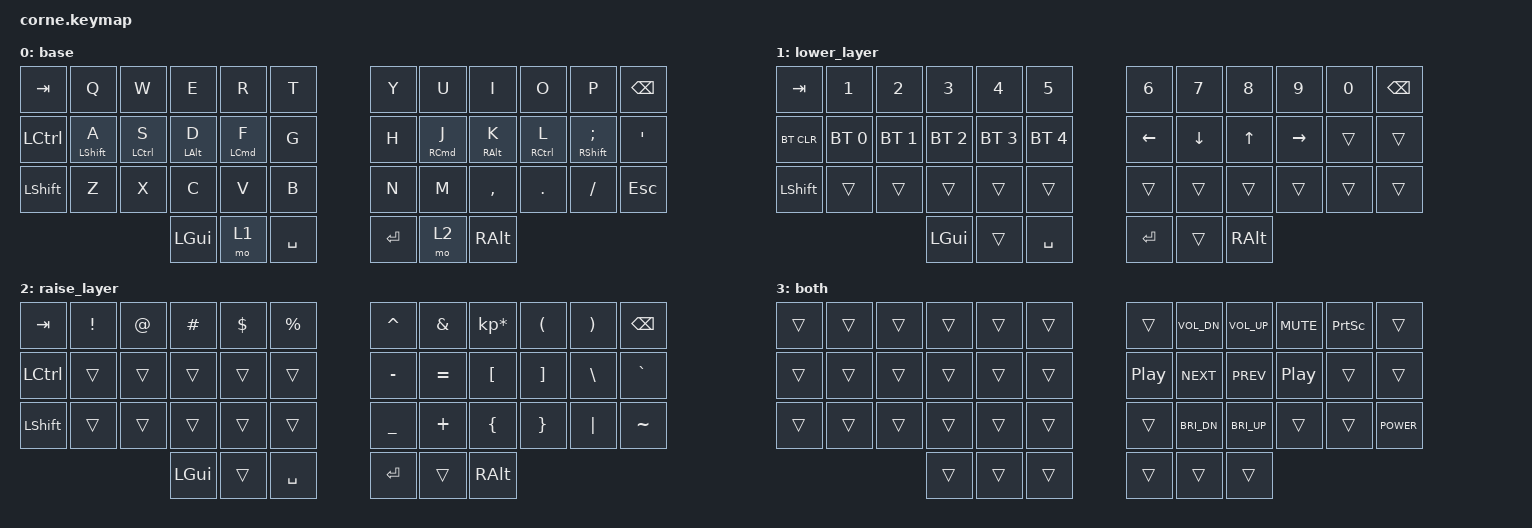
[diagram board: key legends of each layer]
/*
 * Copyright (c) 2020 The ZMK Contributors
 *
 * SPDX-License-Identifier: MIT
 */

#include <behaviors.dtsi>
#include <dt-bindings/zmk/bt.h>
#include <dt-bindings/zmk/keys.h>

&sk { /delete-property/ ignore-modifiers; };

/ {
    behaviors {
        hml: homerow_mods_left {
            compatible = "zmk,behavior-hold-tap";
            label = "HOMEROW_MODS_LEFT_HAND";
            bindings = <&kp>, <&kp>;

            #binding-cells = <2>;
            tapping-term-ms = <200>;
            hold-trigger-key-positions = <39 40 6 7 8 9 10 11 18 19 20 21 22 23 30 31 32 33 34 35 40 41>;
        };

        hmr: homerow_mods_right {
            compatible = "zmk,behavior-hold-tap";
            label = "HOMEROW_MODS_RIGHT_HAND";
            bindings = <&kp>, <&kp>;

            #binding-cells = <2>;
            tapping-term-ms = <200>;
            hold-trigger-key-positions = <0 1 2 3 4 5 12 13 14 15 16 17 24 25 26 27 28 29 36 37 38>;
        };
    };

    keymap {
        compatible = "zmk,keymap";

        base {
            // -----------------------------------------------------------------------------------------
            // |  TAB |  Q  |  W  |  E  |  R  |  T  |   |  Y  |  U   |  I  |  O  |  P  | BKSP |
            // | CTRL |  A  |  S  |  D  |  F  |  G  |   |  H  |  J   |  K  |  L  |  ;  |  '   |
            // | SHFT |  Z  |  X  |  C  |  V  |  B  |   |  N  |  M   |  ,  |  .  |  /  | ESC  |
            //                    | GUI | LWR | SPC |   | ENT | RSE  | ALT |

            bindings = <
&kp TAB    &kp Q         &kp W                &kp E            &kp R                &kp T        &kp Y    &kp U                 &kp I             &kp O                 &kp P                  &kp BSPC
&kp LCTRL  &hml LSHFT A  &hml LEFT_CONTROL S  &hml LEFT_ALT D  &hml LEFT_COMMAND F  &kp G        &kp H    &hmr RIGHT_COMMAND J  &hmr RIGHT_ALT K  &hmr RIGHT_CONTROL L  &hmr RIGHT_SHIFT SEMI  &kp SQT
&kp LSHFT  &kp Z         &kp X                &kp C            &kp V                &kp B        &kp N    &kp M                 &kp COMMA         &kp DOT               &kp FSLH               &kp ESC
                                              &kp LGUI         &mo 1                &kp SPACE    &kp RET  &mo 2                 &kp RALT
            >;
        };

        lower_layer {
            // -----------------------------------------------------------------------------------------
            // |  TAB |  1  |  2  |  3  |  4  |  5  |   |  6  |  7  |  8  |  9  |  0  | BKSP |
            // | BTCLR| BT1 | BT2 | BT3 | BT4 | BT5 |   | LFT | DWN |  UP | RGT |     |      |
            // | SHFT |     |     |     |     |     |   |     |     |     |     |     |      |
            //                    | GUI |     | SPC |   | ENT |     | ALT |

            bindings = <
&kp TAB     &kp N1        &kp N2        &kp N3        &kp N4        &kp N5          &kp N6    &kp N7    &kp N8    &kp N9     &kp N0  &kp BSPC
&bt BT_CLR  &bt BT_SEL 0  &bt BT_SEL 1  &bt BT_SEL 2  &bt BT_SEL 3  &bt BT_SEL 4    &kp LEFT  &kp DOWN  &kp UP    &kp RIGHT  &trans  &trans
&kp LSHFT   &trans        &trans        &trans        &trans        &trans          &trans    &trans    &trans    &trans     &trans  &trans
                                        &kp LGUI      &trans        &kp SPACE       &kp RET   &trans    &kp RALT
            >;
        };

        raise_layer {
            // -----------------------------------------------------------------------------------------
            // |  TAB |  !  |  @  |  #  |  $  |  %  |   |  ^  |  &  |  *  |  (  |  )  | BKSP |
            // | CTRL |     |     |     |     |     |   |  -  |  =  |  [  |  ]  |  \  |  `   |
            // | SHFT |     |     |     |     |     |   |  _  |  +  |  {  |  }  | "|" |  ~   |
            //                    | GUI |     | SPC |   | ENT |     | ALT |

            bindings = <
&kp TAB    &kp EXCL  &kp AT  &kp HASH  &kp DLLR  &kp PRCNT    &kp CARET  &kp AMPS   &kp KP_MULTIPLY  &kp LPAR  &kp RPAR  &kp BSPC
&kp LCTRL  &trans    &trans  &trans    &trans    &trans       &kp MINUS  &kp EQUAL  &kp LBKT         &kp RBKT  &kp BSLH  &kp GRAVE
&kp LSHFT  &trans    &trans  &trans    &trans    &trans       &kp UNDER  &kp PLUS   &kp LBRC         &kp RBRC  &kp PIPE  &kp TILDE
                             &kp LGUI  &trans    &kp SPACE    &kp RET    &trans     &kp RALT
            >;
        };

        both {
            bindings = <
&trans  &trans  &trans  &trans  &trans  &trans    &trans            &kp C_VOL_DN  &kp C_VOL_UP  &kp C_MUTE        &kp PRINTSCREEN  &trans
&trans  &trans  &trans  &trans  &trans  &trans    &kp C_PLAY_PAUSE  &kp C_NEXT    &kp C_PREV    &kp C_PLAY_PAUSE  &trans           &trans
&trans  &trans  &trans  &trans  &trans  &trans    &trans            &kp C_BRI_DN  &kp C_BRI_UP  &trans            &trans           &kp C_POWER
                        &trans  &trans  &trans    &trans            &trans        &trans
            >;
        };
    };

    conditional_layers {
        compatible = "zmk,conditional-layers";

        activate_both {
            if-layers = <1 2>;
            then-layer = <3>;
        };
    };
};
